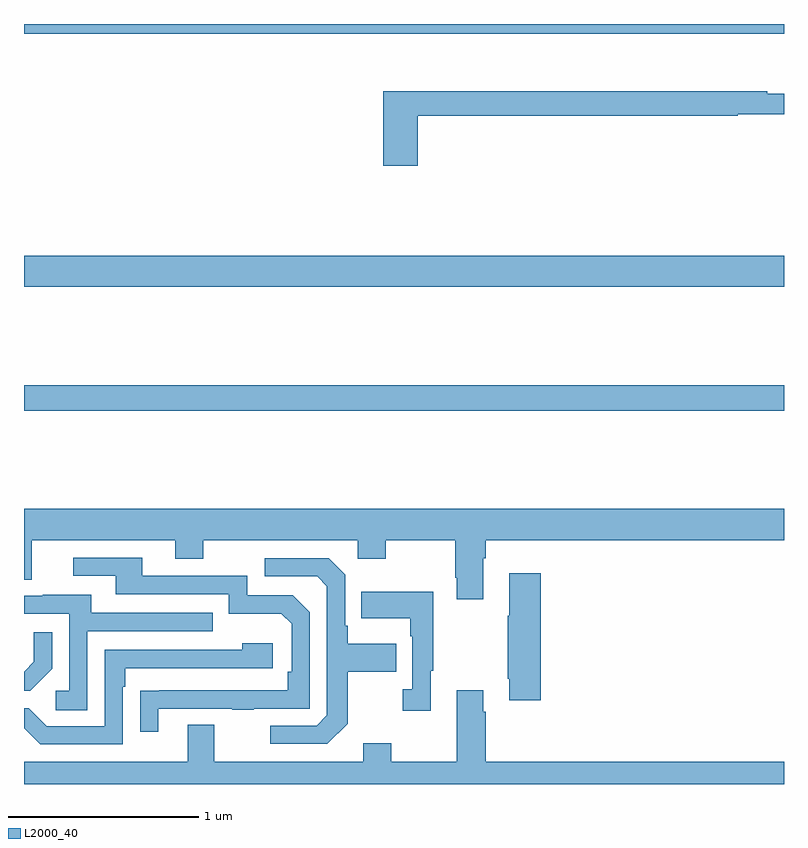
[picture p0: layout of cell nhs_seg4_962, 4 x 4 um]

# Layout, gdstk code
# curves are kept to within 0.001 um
import gdstk
lib = gdstk.Library(unit=1e-6, precision=1e-09)
def R(c, l, rs):  # rectangles x0, y0, x1, y1
    for r in rs: c.add(gdstk.rectangle(r[:2], r[2:], *l))
def P(c, l, *ps):  # polygons
    for p in ps: c.add(gdstk.Polygon(p, *l))
L2000_40 = (2000, 40)

nhs_seg4_962 = lib.new_cell('nhs_seg4_962')
R(nhs_seg4_962, L2000_40, [(161,766.864,165,767), (161,767.516,165,767.68), (161,768.848,165,768.9)])
P(nhs_seg4_962, L2000_40, [(163.073,768.418),(164.756,768.418),(164.756,768.426),(165,768.426),(165,768.534),(164.912,768.534),(164.912,768.547),(162.89,768.547),(162.89,768.153),(163.073,768.153)],
  [(163.417,766.088),(163.43,766.088),(163.43,766.184),(165,766.184),(165,766.348),(161,766.348),(161,765.976),(161.041,765.976),(161.041,766.184),(161.795,766.184),(161.795,766.085),(161.943,766.085),(161.943,766.184),(162.756,766.184),(162.756,766.085),(162.903,766.085),(162.903,766.184),(163.27,766.184),(163.27,765.985),(163.277,765.985),(163.277,765.873),(163.417,765.873)],
  [(161.707,765.297),(162.097,765.297),(162.097,765.292),(162.209,765.292),(162.209,765.297),(162.504,765.297),(162.504,765.804),(162.414,765.894),(162.174,765.894),(162.174,765.996),(161.623,765.996),(161.623,766.092),(161.259,766.092),(161.259,765.996),(161.483,765.996),(161.483,765.9),(162.078,765.9),(162.078,765.797),(162.355,765.797),(162.408,765.744),(162.408,765.49),(162.388,765.49),(162.388,765.393),(161.611,765.392),(161.611,765.174),(161.707,765.174)],
  [(162.703,765.217),(162.703,765.49),(162.959,765.49),(162.959,765.637),(162.703,765.637),(162.703,765.733),(162.69,765.733),(162.69,766.002),(162.603,766.089),(162.267,766.089),(162.267,765.993),(162.543,765.993),(162.594,765.942),(162.594,765.261),(162.54,765.207),(162.297,765.207),(162.297,765.111),(162.597,765.111)],
  [(163.721,766.009),(163.553,766.009),(163.553,765.785),(163.546,765.785),(163.546,765.454),(163.553,765.454),(163.553,765.342),(163.721,765.342)],
  [(163.141,765.497),(163.153,765.497),(163.153,765.913),(162.775,765.913),(162.775,765.773),(163.032,765.773),(163.032,765.677),(163.044,765.677),(163.044,765.398),(162.993,765.398),(162.993,765.285),(163.141,765.285)],
  [(161.334,765.705),(161.993,765.705),(161.993,765.801),(161.353,765.801),(161.353,765.895),(161.099,765.895),(161.099,765.891),(161,765.891),(161,765.795),(161.238,765.795),(161.238,765.39),(161.166,765.39),(161.166,765.289),(161.334,765.289)],
  [(161.148,765.506),(161.148,765.7),(161.051,765.7),(161.051,765.543),(161,765.492),(161,765.39),(161.032,765.39)],
  [(161.52,765.413),(161.533,765.413),(161.533,765.51),(162.31,765.51),(162.31,765.64),(162.149,765.64),(162.149,765.606),(161.424,765.606),(161.424,765.204),(161.121,765.204),(161.025,765.3),(161,765.3),(161,765.193),(161.085,765.108),(161.52,765.108)],
  [(165,765.016),(163.43,765.016),(163.43,765.281),(163.417,765.281),(163.417,765.394),(163.277,765.394),(163.277,765.016),(162.933,765.016),(162.933,765.115),(162.785,765.115),(162.785,765.016),(162.001,765.016),(162.001,765.211),(161.861,765.211),(161.861,765.016),(161,765.016),(161,764.9),(165,764.9)])

lib.write_gds('nhs_seg4_962.gds')
